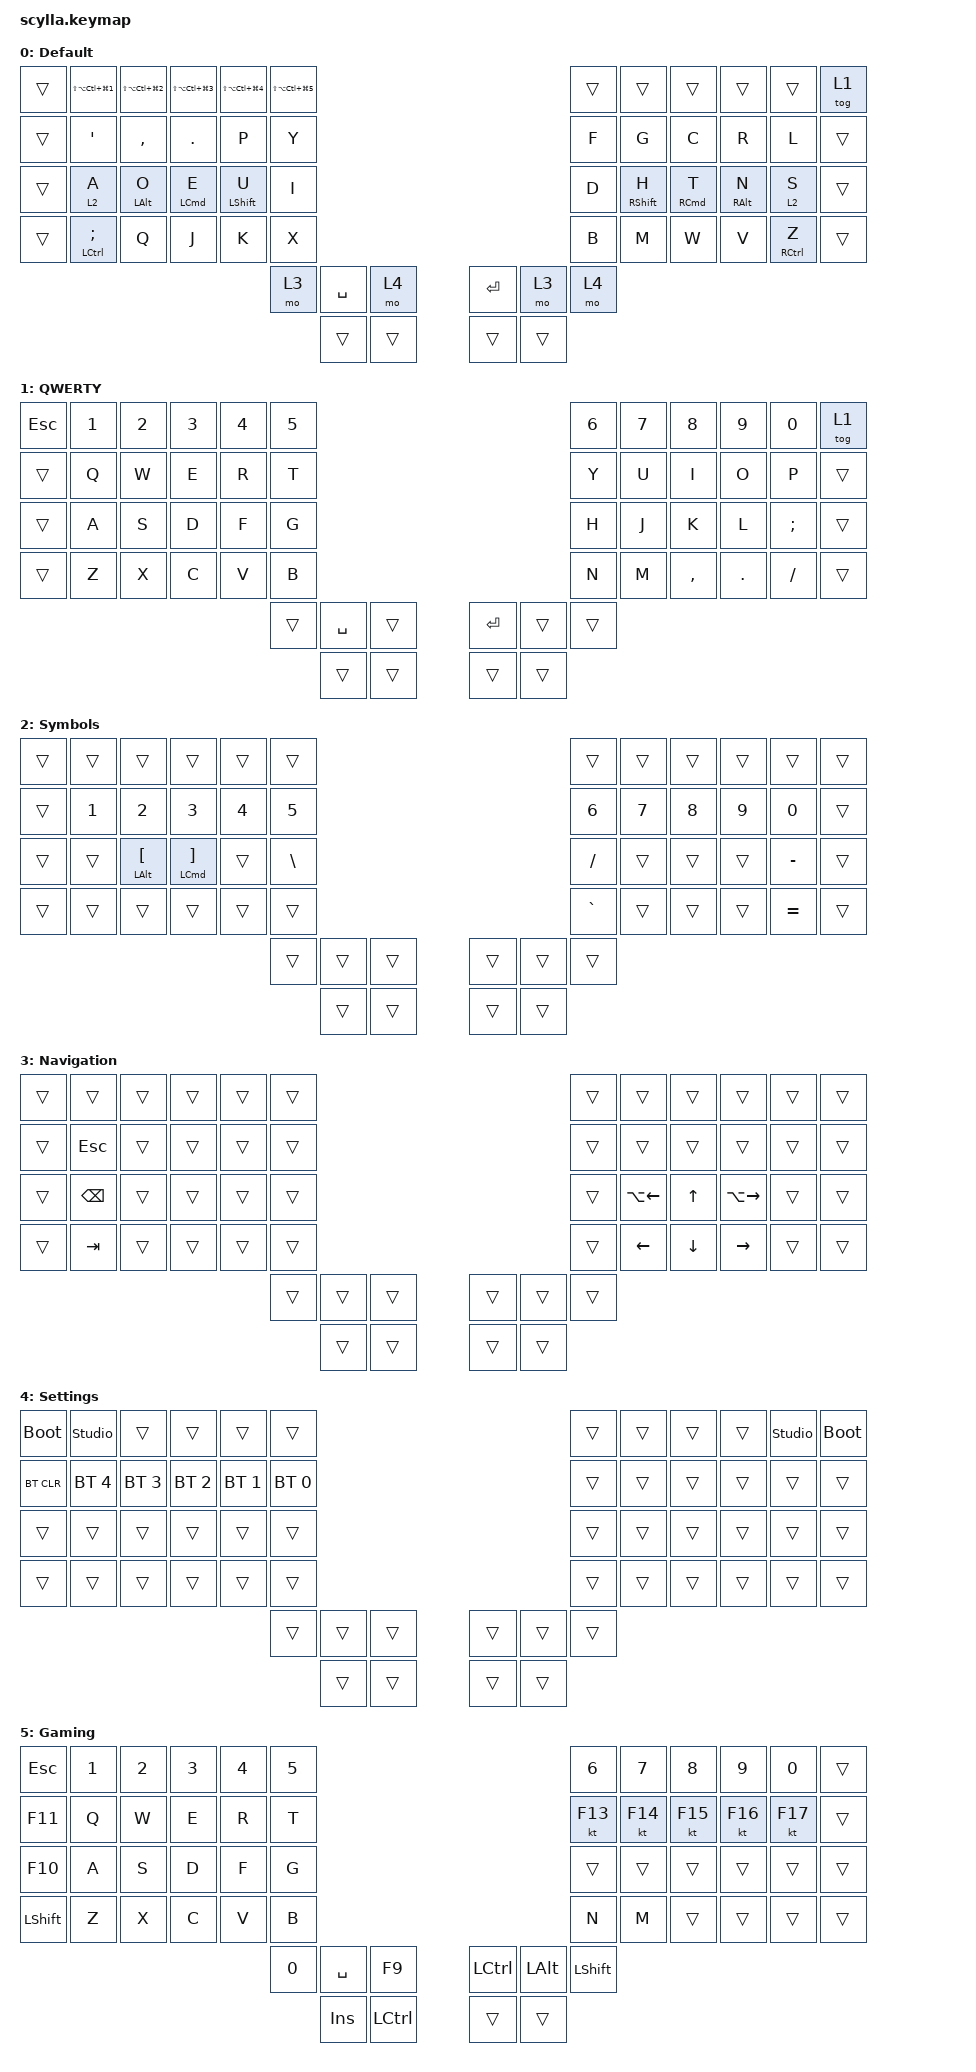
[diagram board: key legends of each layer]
#include <behaviors.dtsi>
#include <dt-bindings/zmk/bt.h>
#include <dt-bindings/zmk/keys.h>

#define DEF 0
#define SYM 1
#define NAV 2

/ {
    macros {
        ZMK_MACRO(screenshot,

        wait-ms = <30>;
        tap-ms = <40>;
        bindings =
            <&macro_press &kp LGUI &kp LSHIFT>,
            <&macro_tap &kp N5>,
            <&macro_release &kp LSHIFT &kp LGUI>;

        )
    };
};

/ {
    behaviors {
        hm: homerow_mods {
            compatible = "zmk,behavior-hold-tap";
            bindings = <&kp>, <&kp>;

            #binding-cells = <2>;
            flavor = "tap-preferred";
            tapping-term-ms = <250>;
        };

        lhm: lhm {
            compatible = "zmk,behavior-hold-tap";
            bindings = <&kp>, <&kp>;

            #binding-cells = <2>;
            tapping-term-ms = <250>;
            flavor = "tap-preferred";
            hold-trigger-key-positions = <6 18 19 20 21 22 23 31 32 33 34 35 43 44 45 46 47 7 8 9 10 11 30 42 51 52 53 56 57>;
            hold-trigger-on-release;
        };

        rhm: rhm {
            compatible = "zmk,behavior-hold-tap";
            bindings = <&kp>, <&kp>;

            #binding-cells = <2>;
            tapping-term-ms = <250>;
            hold-trigger-key-positions = <0 1 2 3 4 5 12 13 14 15 16 17 24 25 26 27 28 29 36 37 38 39 40 41 48 49 50 54 55>;
            hold-trigger-on-release;
        };
    };

    combos {
        compatible = "zmk,combos";

        big_pinky_left {
            bindings = <&mo 4>;
            key-positions = <37 25>;
        };

        big_pinky_right {
            bindings = <&mo 4>;
            key-positions = <46 34>;
        };

        big_esc_left {
            bindings = <&to 5>;
            key-positions = <0 12>;
        };
    };

    keymap {
        compatible = "zmk,keymap";

        // TODO: Add Switch to NAV-layer on this half

        DEF {
            display-name = "Default";
            bindings = <
&trans  &kp LS(LA(LC(LG(NUMBER_1))))  &kp LS(LA(LC(LG(NUMBER_2))))  &kp LS(LA(LC(LG(NUMBER_3))))  &kp LS(LA(LC(LG(NUMBER_4))))  &kp LS(LA(LC(LG(NUMBER_5))))  &trans     &trans        &trans       &trans       &trans        &tog 1
&trans  &kp SINGLE_QUOTE              &kp COMMA                     &kp PERIOD                    &kp P                         &kp Y                         &kp F      &kp G         &kp C        &kp R        &kp L         &trans
&trans  &lt 2 A                       &lhm LALT O                   &lhm LCMD E                   &lhm LSHFT U                  &kp I                         &kp D      &rhm RSHFT H  &rhm RCMD T  &rhm RALT N  &lt 2 S       &trans
&trans  &lhm LCTRL SEMICOLON          &kp Q                         &kp J                         &kp K                         &kp X                         &kp B      &kp M         &kp W        &kp V        &rhm RCTRL Z  &trans
                                                                    &mo 3                         &kp SPACE                     &mo 4                         &kp ENTER  &mo 3         &mo 4
                                                                                                  &trans                        &trans                        &trans     &trans
            >;
        };

        QWERTY {
            display-name = "QWERTY";
            bindings = <
&kp ESCAPE  &kp NUMBER_1  &kp N2  &kp NUMBER_3  &kp NUMBER_4  &kp N5  &kp NUMBER_6  &kp N7  &kp N8     &kp N9   &kp N0         &tog 1
&trans      &kp Q         &kp W   &kp E         &kp R         &kp T   &kp Y         &kp U   &kp I      &kp O    &kp P          &trans
&trans      &kp A         &kp S   &kp D         &kp F         &kp G   &kp H         &kp J   &kp K      &kp L    &kp SEMICOLON  &trans
&trans      &kp Z         &kp X   &kp C         &kp V         &kp B   &kp N         &kp M   &kp COMMA  &kp DOT  &kp SLASH      &trans
                                  &trans        &kp SPACE     &trans  &kp ENTER     &trans  &trans
                                                &trans        &trans  &trans        &trans
            >;
        };

        // TODO: Add nav-keys on this layer

        Symbols {
            display-name = "Symbols";
            bindings = <
&trans  &trans        &trans                     &trans                  &trans        &trans         &trans        &trans        &trans        &trans        &trans        &trans
&trans  &kp NUMBER_1  &kp NUMBER_2               &kp NUMBER_3            &kp NUMBER_4  &kp NUMBER_5   &kp NUMBER_6  &kp NUMBER_7  &kp NUMBER_8  &kp NUMBER_9  &kp NUMBER_0  &trans
&trans  &trans        &hm LEFT_ALT LEFT_BRACKET  &hm LCMD RIGHT_BRACKET  &trans        &kp BACKSLASH  &kp SLASH     &trans        &trans        &trans        &kp MINUS     &trans
&trans  &trans        &trans                     &trans                  &trans        &trans         &kp GRAVE     &trans        &trans        &trans        &kp EQUAL     &trans
                                                 &trans                  &trans        &trans         &trans        &trans        &trans
                                                                         &trans        &trans         &trans        &trans
            >;
        };

        Navigation {
            display-name = "Navigation";
            bindings = <
&trans  &trans         &trans  &trans  &trans  &trans  &trans  &trans          &trans        &trans         &trans  &trans
&trans  &kp ESCAPE     &trans  &trans  &trans  &trans  &trans  &trans          &trans        &trans         &trans  &trans
&trans  &kp BACKSPACE  &trans  &trans  &trans  &trans  &trans  &kp LA(LEFT)    &kp UP_ARROW  &kp LA(RIGHT)  &trans  &trans
&trans  &kp TAB        &trans  &trans  &trans  &trans  &trans  &kp LEFT_ARROW  &kp DOWN      &kp RIGHT      &trans  &trans
                               &trans  &trans  &trans  &trans  &trans          &trans
                                       &trans  &trans  &trans  &trans
            >;
        };

        Settings {
            display-name = "Settings";
            bindings = <
&bootloader  &studio_unlock  &trans        &trans        &trans        &trans        &trans  &trans  &trans  &trans  &studio_unlock  &bootloader
&bt BT_CLR   &bt BT_SEL 4    &bt BT_SEL 3  &bt BT_SEL 2  &bt BT_SEL 1  &bt BT_SEL 0  &trans  &trans  &trans  &trans  &trans          &trans
&trans       &trans          &trans        &trans        &trans        &trans        &trans  &trans  &trans  &trans  &trans          &trans
&trans       &trans          &trans        &trans        &trans        &trans        &trans  &trans  &trans  &trans  &trans          &trans
                                           &trans        &trans        &trans        &trans  &trans  &trans
                                                         &trans        &trans        &trans  &trans
            >;
        };

        Gaming {
            display-name = "Gaming";
            bindings = <
&kp ESC    &kp N1  &kp N2  &kp N3  &kp N4      &kp N5     &kp N6     &kp N7    &kp N8     &kp N9   &kp N0   &trans
&kp F11    &kp Q   &kp W   &kp E   &kp R       &kp T      &kt F13    &kt F14   &kt F15    &kt F16  &kt F17  &trans
&kp F10    &kp A   &kp S   &kp D   &kp F       &kp G      &trans     &trans    &trans     &trans   &trans   &trans
&kp LSHFT  &kp Z   &kp X   &kp C   &kp V       &kp B      &kp N      &kp M     &trans     &trans   &trans   &trans
                           &kp N0  &kp SPACE   &kp F9     &kp LCTRL  &kp LALT  &kp LSHFT
                                   &kp INSERT  &kp LCTRL  &trans     &trans
            >;
        };

        extra1 { status = "reserved"; };

        extra2 { status = "reserved"; };
    };
};
